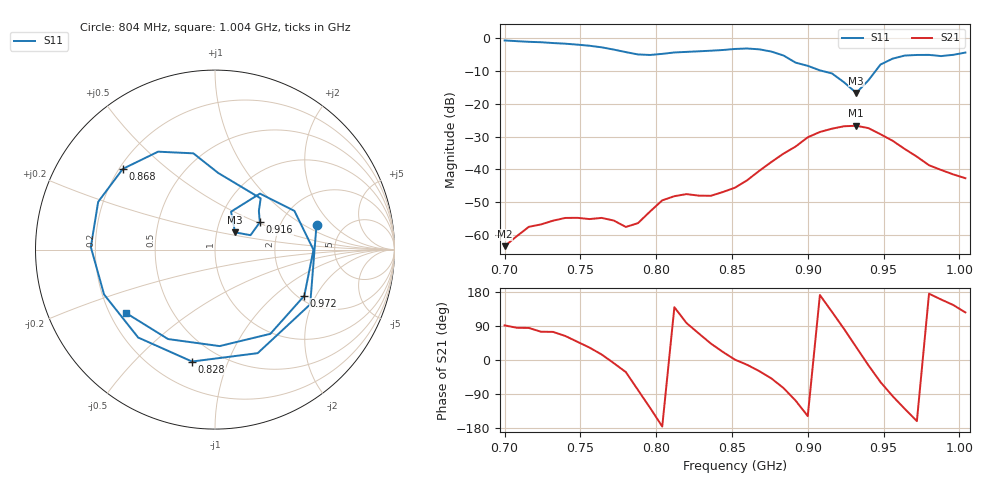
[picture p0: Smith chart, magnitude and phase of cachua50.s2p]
# Hz S RI R 50
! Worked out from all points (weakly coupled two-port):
!   39 points, 700 MHz to 1.004 GHz, reference 50 ohm
!   highest |S21| = -26.66 dB at 932 MHz (marker M1); lowest = -63.4 dB at 700 MHz (marker M2)
!   lowest |S11| = -16.6 dB at 932 MHz (marker M3), VSWR 1.35, Z = 61.3 + j12 ohm
!   |S11| at or under -10 dB: 910.2 MHz to 944.6 MHz (34.37 MHz wide, 3.71 % of centre)
!   S12 and S22 are empty: the file has one direction only
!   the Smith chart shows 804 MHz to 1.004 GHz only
!   S11 on the Smith chart (normalised r, x): 804 MHz: 3.18, +1.33; 828 MHz: 0.36, -0.75; 868 MHz: 0.21, +0.36; 916 MHz: 1.56, +0.52; 972 MHz: 2.15, -1.61; 1.004 GHz: 0.27, -0.30
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7e8  0.7679 0.5296  -1.67e-05 0.000673  0 0  0 0
7.24e8  0.8351 -0.265  0.000384 0.00139  0 0  0 0
7.4e8  0.4436 -0.7045  0.000812 0.00163  0 0  0 0
7.56e8  -0.1976 -0.7489  0.00147 0.000945  0 0  0 0
7.72e8  -0.6502 -0.1873  0.00164 -0.000236  0 0  0 0
7.8e8  -0.5743 0.2315  0.00112 -0.000701  0 0  0 0
7.88e8  -0.2186 0.5268  0.000282 -0.00149  0 0  0 0
7.96e8  0.2603 0.4958  -0.00136 -0.00184  0 0  0 0
8.04e8  0.5657 0.1386  -0.00336 -0.000263  0 0  0 0
8.2e8  0.2377 -0.577  -0.000553 0.00417  0 0  0 0
8.28e8  -0.1281 -0.6236  0.00134 0.00375  0 0  0 0
8.52e8  -0.6919 0.0143  0.00527 7.92e-05  0 0  0 0
8.68e8  -0.5136 0.4498  0.0083 -0.00466  0 0  0 0
8.84e8  -0.1206 0.5364  0.0048 -0.0168  0 0  0 0
9.08e8  0.2445 0.2158  -0.0369 0.00559  0 0  0 0
9.16e8  0.2497 0.1519  -0.0252 0.0335  0 0  0 0
9.32e8  0.1119 0.0959  0.0386 0.0259  0 0  0 0
9.48e8  0.2504 0.3119  0.0181 -0.0293  0 0  0 0
9.56e8  0.4424 0.2157  -0.00259 -0.0273  0 0  0 0
9.72e8  0.4976 -0.2571  -0.0148 -0.00504  0 0  0 0
9.88e8  0.0257 -0.5376  -0.00921 0.00342  0 0  0 0
1.004e9  -0.4968 -0.3525  -0.00427 0.00598  0 0  0 0
